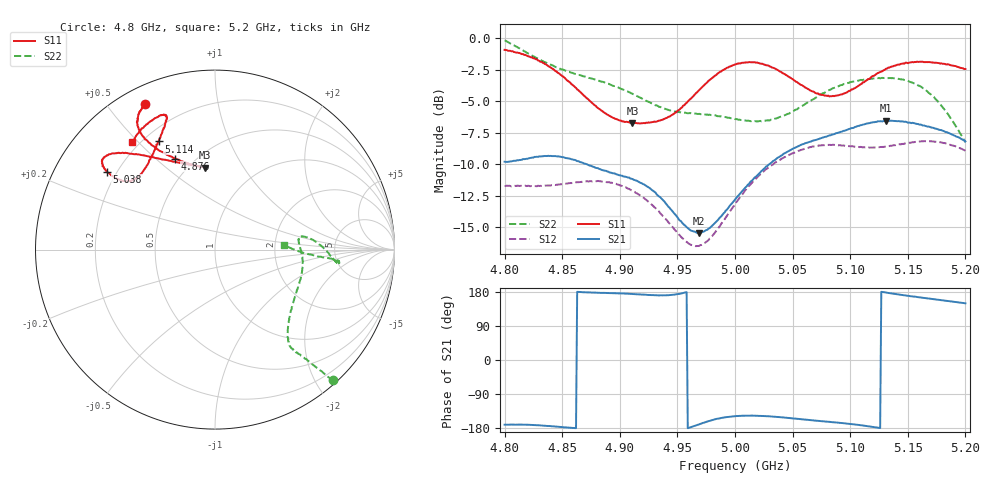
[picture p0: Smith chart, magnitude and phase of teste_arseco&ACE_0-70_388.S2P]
! Network Analyzer HP8722D
! Hewlett-Packard
! Data name: Linha & Wilkinson
! Saver's name: Rodrigo Anjos
! Comments: Teste da utilização de aquisição
! continua pelo VNA HP8722D
! Time and date: 8/5/2025 15:59
!  Frequency  S11  S21  S12  S22
# HZ  S  MA R 50
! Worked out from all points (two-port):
!   401 points, 4.8 GHz to 5.2 GHz, reference 50 ohm
!   highest |S21| = -6.54 dB at 5.131 GHz (marker M1); lowest = -15.5 dB at 4.969 GHz (marker M2)
!   |S21| within 3 dB of the highest: 4.821 GHz to 4.854 GHz (33.41 MHz wide, 0.691 % of centre); 5.036 GHz to end of sweep
!   lowest |S11| = -6.8 dB at 4.911 GHz (marker M3), VSWR 2.70, Z = 29.9 + j34.5 ohm
!   |S11| at or under -10 dB: nowhere
!   |S22| runs from -8.3 to -0.2 dB; largest |S21 - S12| = 0.83
!   S11 on the Smith chart (normalised r, x): 4.8 GHz: 0.07, +0.63; 4.876 GHz: 0.40, +0.58; 5.038 GHz: 0.16, +0.31; 5.114 GHz: 0.26, +0.58; 5.2 GHz: 0.17, +0.48
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4.8e9  0.9004 115.7  0.3233 -170.8  0.2588 -86.3  0.9811 -48.0
4.834e9  0.797 122.3  0.3404 -173.2  0.2592 -77.2  0.8078 -50.0
4.849e9  0.7143 121.9  0.3379 -176.8  0.263 -72.3  0.7545 -50.9
4.867e9  0.6037 117.5  0.3209 179.0  0.2687 -67.9  0.7106 -51.9
4.876e9  0.5529 113.6  0.3097 177.9  0.2698 -67.0  0.6916 -52.3
4.894e9  0.4833 103.9  0.2908 176.4  0.2657 -67.1  0.6481 -51.1
4.911e9  0.459 96.9  0.2759 174.3  0.2477 -68.6  0.6021 -47.6
4.934e9  0.471 99.9  0.2353 170.4  0.205 -70.1  0.5345 -36.9
4.957e9  0.5493 116.2  0.1797 178.4  0.1564 -59.8  0.5063 -21.8
4.969e9  0.6238 124.2  0.1684 -169.4  0.1497 -46.3  0.5011 -14.6
4.981e9  0.7003 130.5  0.1811 -157.9  0.1654 -32.9  0.4942 -8.6
5e9  0.7869 137.3  0.2283 -148.5  0.2199 -21.7  0.4776 -0.3
5.018e9  0.8011 141.6  0.2814 -147.0  0.2759 -19.0  0.4682 5.6
5.038e9  0.7441 144.3  0.337 -150.5  0.3274 -19.3  0.4846 8.6
5.067e9  0.6157 141.9  0.3911 -159.1  0.3712 -21.5  0.5698 3.8
5.088e9  0.5918 132.8  0.42 -164.9  0.3763 -24.8  0.6412 -2.7
5.114e9  0.68 117.6  0.458 -174.2  0.3684 -27.6  0.6879 -6.3
5.131e9  0.7569 111.6  0.4712 178.0  0.3716 -29.2  0.6957 -6.0
5.134e9  0.765 110.9  0.4693 176.6  0.3731 -29.8  0.6952 -5.7
5.161e9  0.8075 112.4  0.4543 165.0  0.3893 -36.2  0.6439 -4.4
5.179e9  0.796 118.7  0.4319 157.8  0.3858 -41.9  0.5412 -3.1
5.2e9  0.7554 127.5  0.3895 149.5  0.3576 -47.6  0.386 3.5
